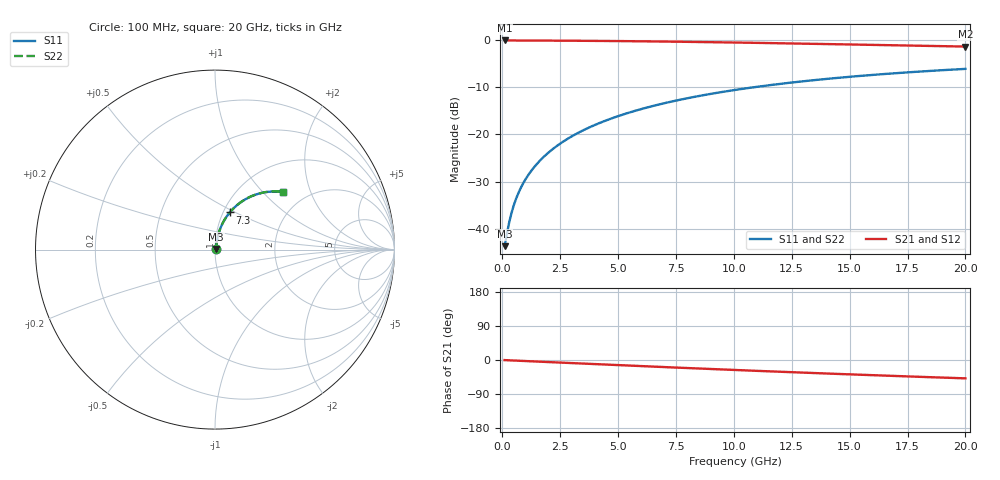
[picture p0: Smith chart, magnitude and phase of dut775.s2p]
! Touchstone file exported from HFSS 2026.1.0
!  File:  C:/ffzhzh/LocalFiles/Ansys_Project_Files/temp_train_BSMRDL_775_1783169247_43440.aedt
!  Generated:  08:48:42 PM Jul  4, 2026
!  Design:  BSMRDL
!  Project:  temp_train_BSMRDL_775_1783169247_43440
! Variables:
!  h_bsmrdl = 2.29um
!  h_ox = 20um
!  h_rdl = 5um
!  h_sub = 80um
!  h_tmrdl = 5um
!  h_tsv = 80um
!  h_via = 3um
!  l_bsmrdl = 665.95um
!  l_sub = 1065.95um
!  l_tmrdl = 200um
!  m_sub = 200um
!  pitch = 53.94um
!  r_tsv = 6um
!  s_tmrdl = 10um
!  w_bsmrdl = 19.35um
!  w_sub = 500um
!  w_tmrdl = 12um
!  x_tsv_center1 = 206um
!  x_tsv_center2 = 891.3um
!  x_tsv_center3 = 1103.3um
!  x_tsv_center4 = 1788.6um
!  x_tsv_center5 = 2000.6um
!  x_tsv_center6 = 2685.9um
# GHz S MA R 50.000000
! Terminal data exported
! Port[1] = BSM_RDL1_1_T1
! Port[2] = BSM_RDL1_1_T2
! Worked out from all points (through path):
!   200 points, 100 MHz to 20 GHz, reference 50 ohm
!   highest |S21| = -0.05 dB at 100 MHz (marker M1); lowest = -1.3 dB at 20 GHz (marker M2)
!   group delay of S21, straight-line fit = 6.75 ps
!   lowest |S11| = -43.7 dB at 100 MHz (marker M3), VSWR 1.01, Z = 50.6 + j0.344 ohm
!   |S11| at or under -10 dB: start of sweep to 10.84 GHz
!   |S22| runs from -43.7 to -6.1 dB; largest |S21 - S12| = 4.2e-15
!   S11 on the Smith chart (normalised r, x): 100 MHz: 1.01, +0.01; 7.3 GHz: 1.07, +0.47; 20 GHz: 1.54, +1.31
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0.1  0.006509 31.5  0.9945 -0.3  0.9945 -0.3  0.006509 31.5
! Gamma 0 0 0 0
! Port Impedance 50 0 50 0
0.2  0.008852 49.9  0.9943 -0.6  0.9943 -0.6  0.008852 49.9
0.3  0.01171 59.6  0.9942 -0.9  0.9942 -0.9  0.01171 59.6
0.4  0.01473 65.1  0.994 -1.1  0.994 -1.1  0.01473 65.1
0.5  0.01781 68.6  0.9938 -1.4  0.9938 -1.4  0.01781 68.6
0.6  0.0209 70.9  0.9936 -1.7  0.9936 -1.7  0.0209 70.9
0.8  0.02709 73.9  0.9932 -2.2  0.9932 -2.2  0.02709 73.9
1.1  0.03637 76.2  0.9926 -3.0  0.9926 -3.0  0.03637 76.2
1.3  0.04257 77.1  0.9922 -3.6  0.9922 -3.6  0.04257 77.1
1.6  0.05189 77.8  0.9917 -4.4  0.9917 -4.4  0.05189 77.8
2.1  0.06744 78.1  0.9906 -5.7  0.9906 -5.7  0.06744 78.2
2.7  0.08608 77.8  0.989 -7.3  0.989 -7.3  0.08608 77.8
3.5  0.1108 76.6  0.9864 -9.5  0.9864 -9.5  0.1108 76.6
4.2  0.1322 75.3  0.9836 -11.4  0.9836 -11.4  0.1322 75.3
5  0.1563 73.6  0.9798 -13.5  0.9798 -13.5  0.1563 73.6
6.8  0.2089 69.5  0.9695 -18.2  0.9695 -18.2  0.2089 69.5
7.3  0.223 68.3  0.9662 -19.5  0.9662 -19.5  0.223 68.3
8.6  0.2587 65.2  0.9569 -22.8  0.9569 -22.8  0.2587 65.3
10.1  0.2978 61.7  0.9451 -26.5  0.9451 -26.5  0.2978 61.7
13.4  0.3756 54.1  0.9163 -34.3  0.9163 -34.3  0.3756 54.1
16.7  0.4416 46.9  0.8859 -41.6  0.8859 -41.6  0.4416 47.0
20  0.4964 40.2  0.8564 -48.4  0.8564 -48.4  0.4964 40.3
